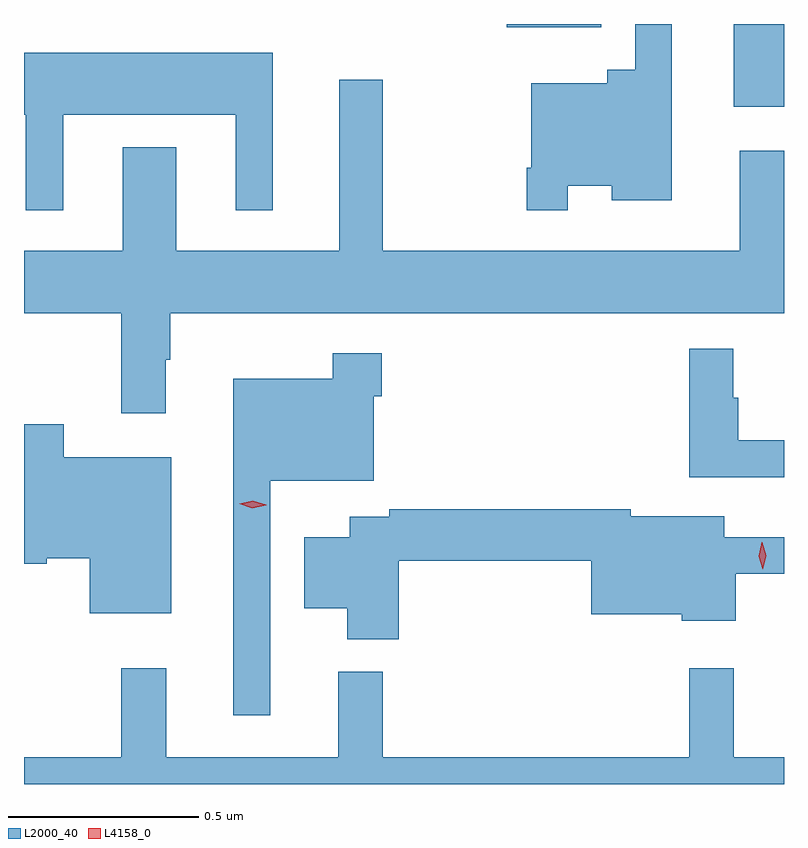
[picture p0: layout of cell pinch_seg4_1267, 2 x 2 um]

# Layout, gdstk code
import gdstk
lib = gdstk.Library(unit=1e-6, precision=1e-09)
def R(c, l, rs):  # rectangles x0, y0, x1, y1
    for r in rs: c.add(gdstk.rectangle(r[:2], r[2:], *l))
def P(c, l, *ps):  # polygons
    for p in ps: c.add(gdstk.Polygon(p, *l))
L2000_40 = (2000, 40)
L4158_0 = (4158, 0)

pinch_seg4_1267 = lib.new_cell('pinch_seg4_1267')
R(pinch_seg4_1267, L2000_40, [(157.283,816.011,157.415,816.229), (156.686,816.221,156.934,816.229)])
P(pinch_seg4_1267, L2000_40, [(156.846,815.804),(156.962,815.804),(156.962,815.765),(157.12,815.765),(157.12,816.229),(157.023,816.229),(157.023,816.109),(156.95,816.109),(156.95,816.073),(156.75,816.073),(156.75,815.851),(156.738,815.851),(156.738,815.739),(156.846,815.739)],
  [(155.518,815.99),(155.972,815.99),(155.972,815.739),(156.07,815.739),(156.07,816.154),(155.415,816.154),(155.415,815.99),(155.42,815.99),(155.42,815.739),(155.518,815.739)],
  [(155.788,815.345),(155.8,815.345),(155.8,815.468),(157.415,815.468),(157.415,815.896),(157.298,815.896),(157.298,815.632),(156.359,815.632),(156.359,816.082),(156.245,816.082),(156.245,815.632),(155.815,815.632),(155.815,815.905),(155.675,815.905),(155.675,815.632),(155.415,815.632),(155.415,815.468),(155.671,815.468),(155.671,815.205),(155.788,815.205)],
  [(157.415,815.134),(157.294,815.134),(157.294,815.246),(157.282,815.246),(157.282,815.374),(157.165,815.374),(157.165,815.036),(157.415,815.036)],
  [(156.063,815.027),(156.336,815.027),(156.336,815.249),(156.356,815.249),(156.356,815.362),(156.228,815.362),(156.228,815.296),(155.966,815.296),(155.966,814.41),(156.063,814.41)],
  [(155.803,815.089),(155.52,815.089),(155.52,815.176),(155.415,815.176),(155.415,814.808),(155.475,814.808),(155.475,814.823),(155.588,814.823),(155.588,814.679),(155.803,814.679)],
  [(156.401,814.816),(156.908,814.816),(156.908,814.676),(157.146,814.676),(157.146,814.658),(157.288,814.658),(157.288,814.782),(157.415,814.782),(157.415,814.879),(157.258,814.879),(157.258,814.933),(157.012,814.933),(157.012,814.952),(156.376,814.952),(156.376,814.932),(156.272,814.932),(156.272,814.879),(156.152,814.879),(156.152,814.691),(156.266,814.691),(156.266,814.61),(156.401,814.61)],
  [(157.415,814.3),(157.283,814.3),(157.283,814.534),(157.165,814.534),(157.165,814.3),(156.359,814.3),(156.359,814.525),(156.242,814.525),(156.242,814.3),(155.789,814.3),(155.789,814.534),(155.671,814.534),(155.671,814.3),(155.415,814.3),(155.415,814.229),(157.415,814.229)])
P(pinch_seg4_1267, L4158_0, [(157.359,814.794),(157.359,814.794),(157.348,814.829),(157.357,814.865),(157.357,814.865),(157.358,814.865),(157.368,814.83),(157.359,814.794)],
  [(156.016,814.955),(155.981,814.966),(155.981,814.966),(155.981,814.967),(156.017,814.975),(156.052,814.964),(156.052,814.963),(156.052,814.963)])

lib.write_gds('pinch_seg4_1267.gds')
